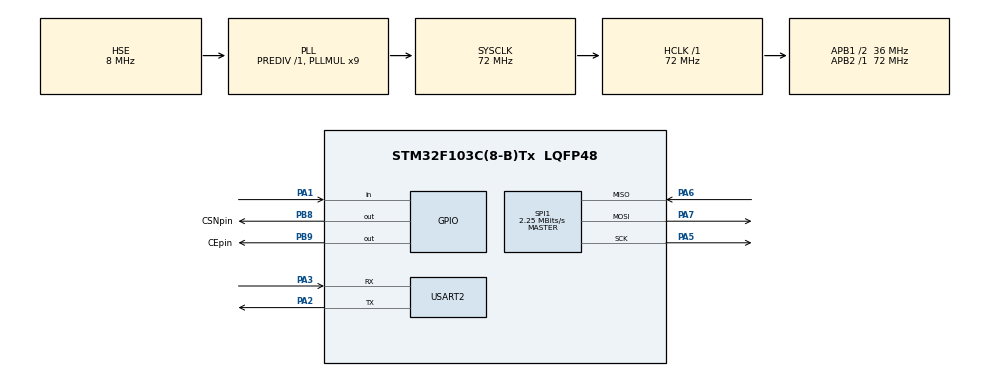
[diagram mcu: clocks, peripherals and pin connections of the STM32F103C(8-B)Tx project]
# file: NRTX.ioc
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Mcu.Family=STM32F1
Mcu.Name=STM32F103C(8-B)Tx
Mcu.Package=LQFP48
NVIC.PriorityGroup=NVIC_PRIORITYGROUP_4
PA1.Signal=GPIO_Input
PA13.Mode=Serial_Wire
PA13.Signal=SYS_JTMS-SWDIO
PA14.Mode=Serial_Wire
PA14.Signal=SYS_JTCK-SWCLK
PA2.Mode=Asynchronous
PA2.Signal=USART2_TX
PA3.Mode=Asynchronous
PA3.Signal=USART2_RX
PA5.Mode=Full_Duplex_Master
PA5.Signal=SPI1_SCK
PA6.Mode=Full_Duplex_Master
PA6.Signal=SPI1_MISO
PA7.Mode=Full_Duplex_Master
PA7.Signal=SPI1_MOSI
PB8.GPIO_Label=CSNpin
PB8.Signal=GPIO_Output
PB9.GPIO_Label=CEpin
PB9.Signal=GPIO_Output
PD0-OSC_IN.Mode=HSE-External-Oscillator
PD0-OSC_IN.Signal=RCC_OSC_IN
PD1-OSC_OUT.Mode=HSE-External-Oscillator
PD1-OSC_OUT.Signal=RCC_OSC_OUT
ProjectManager.HeapSize=0x200
ProjectManager.StackSize=0x400
ProjectManager.TargetToolchain=MDK-ARM V5.32
RCC.AHBFreq_Value=72000000
RCC.APB1CLKDivider=RCC_HCLK_DIV2
RCC.APB1Freq_Value=36000000
RCC.APB1TimFreq_Value=72000000
RCC.APB2Freq_Value=72000000
RCC.APB2TimFreq_Value=72000000
RCC.HCLKFreq_Value=72000000
RCC.PLLMUL=RCC_PLL_MUL9
RCC.PLLSourceVirtual=RCC_PLLSOURCE_HSE
RCC.SYSCLKFreq_VALUE=72000000
RCC.SYSCLKSource=RCC_SYSCLKSOURCE_PLLCLK
RCC.USBFreq_Value=72000000
SPI1.BaudRatePrescaler=SPI_BAUDRATEPRESCALER_32
SPI1.CalculateBaudRate=2.25 MBits/s
SPI1.Direction=SPI_DIRECTION_2LINES
SPI1.Mode=SPI_MODE_MASTER
SPI1.VirtualType=VM_MASTER
USART2.VirtualMode=VM_ASYNC
board=custom

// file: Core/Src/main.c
/* USER CODE BEGIN Header */
/**
  ******************************************************************************
  * @file           : main.c
  * @brief          : Main program body
  ******************************************************************************
  * @attention
  *
  * <h2><center>&copy; Copyright (c) 2021 STMicroelectronics.
  * All rights reserved.</center></h2>
  *
  * This software component is licensed by ST under BSD 3-Clause license,
  * the "License"; You may not use this file except in compliance with the
  * License. You may obtain a copy of the License at:
  *                        opensource.org/licenses/BSD-3-Clause
  *
  ******************************************************************************
  */
/* USER CODE END Header */
#include "main.h"

/* USER CODE BEGIN Includes */
#include "MY_NRF24.h"
#include "stdio.h"

/* USER CODE END Includes */

SPI_HandleTypeDef hspi1;

UART_HandleTypeDef huart2;

void SystemClock_Config(void);
static void MX_GPIO_Init(void);
static void MX_SPI1_Init(void);
static void MX_USART2_UART_Init(void);

/* USER CODE BEGIN 0 */
uint64_t TxpipeAddrs = 0x11223344AA;
char myTxData[32]; //= "Ehsan";
char AckPayload[32];
/* USER CODE END 0 */

int main(void)
{

  /* MCU Configuration--------------------------------------------------------*/

  /* Reset of all peripherals, Initializes the Flash interface and the Systick. */
  HAL_Init();

  /* Configure the system clock */
  SystemClock_Config();

  /* Initialize all configured peripherals */
  MX_GPIO_Init();
  MX_SPI1_Init();
  MX_USART2_UART_Init();
  /* USER CODE BEGIN 2 */
	NRF24_begin(GPIOB, CSNpin_Pin, GPIO_PIN_9, hspi1);
	//NRF24_begin(GPIOB, CSNpin_Pin, CEpin_Pin, hspi1);
	nrf24_DebugUART_Init(huart2);

	printRadioSettings();//for showing default setting of NRF

	//**** TRANSMIT - ACK ****//

	NRF24_stopListening();
	NRF24_openWritingPipe(TxpipeAddrs);

	NRF24_setAutoAck(true);
	NRF24_setChannel(52);
	NRF24_setPayloadSize(32);

	NRF24_enableDynamicPayloads();
	NRF24_enableAckPayload();

  /* USER CODE END 2 */

  /* Infinite loop */
  /* USER CODE BEGIN WHILE */
  while (1)
  {

		myTxData[0] = HAL_GPIO_ReadPin(GPIOA,GPIO_PIN_1);
		NRF24_write(myTxData, 32);

//		if(NRF24_write(myTxData, 32)){
//
//		HAL_UART_Transmit(&huart2, (uint8_t *)"Transmitted Successfully\r\n", strlen("Transmitted Successfully\r\n"), 10);
//		}
//		HAL_Delay(1000);
//

		/*
		if(NRF24_write(myTxData, 32))
		{
			NRF24_read(AckPayload, 32);
			HAL_UART_Transmit(&huart2, (uint8_t *)"Transmitted Successfully\r\n", strlen("Transmitted Successfully\r\n"), 10);

			char myDataack[80];
			sprintf(myDataack, "AckPayload:  %s \r\n", AckPayload);
			HAL_UART_Transmit(&huart2, (uint8_t *)myDataack, strlen(myDataack), 10);
		}

		HAL_Delay(1000);
		*/

    /* USER CODE END WHILE */

  }
}

void SystemClock_Config(void)
{
  RCC_OscInitTypeDef RCC_OscInitStruct = {0};
  RCC_ClkInitTypeDef RCC_ClkInitStruct = {0};

  /** Initializes the RCC Oscillators according to the specified parameters
  * in the RCC_OscInitTypeDef structure.
  */
  RCC_OscInitStruct.OscillatorType = RCC_OSCILLATORTYPE_HSE;
  RCC_OscInitStruct.HSEState = RCC_HSE_ON;
  RCC_OscInitStruct.HSEPredivValue = RCC_HSE_PREDIV_DIV1;
  RCC_OscInitStruct.HSIState = RCC_HSI_ON;
  RCC_OscInitStruct.PLL.PLLState = RCC_PLL_ON;
  RCC_OscInitStruct.PLL.PLLSource = RCC_PLLSOURCE_HSE;
  RCC_OscInitStruct.PLL.PLLMUL = RCC_PLL_MUL9;
  if (HAL_RCC_OscConfig(&RCC_OscInitStruct) != HAL_OK)
  {
    Error_Handler();
  }
  /** Initializes the CPU, AHB and APB buses clocks
  */
  RCC_ClkInitStruct.ClockType = RCC_CLOCKTYPE_HCLK|RCC_CLOCKTYPE_SYSCLK
                              |RCC_CLOCKTYPE_PCLK1|RCC_CLOCKTYPE_PCLK2;
  RCC_ClkInitStruct.SYSCLKSource = RCC_SYSCLKSOURCE_PLLCLK;
  RCC_ClkInitStruct.AHBCLKDivider = RCC_SYSCLK_DIV1;
  RCC_ClkInitStruct.APB1CLKDivider = RCC_HCLK_DIV2;
  RCC_ClkInitStruct.APB2CLKDivider = RCC_HCLK_DIV1;

  if (HAL_RCC_ClockConfig(&RCC_ClkInitStruct, FLASH_LATENCY_2) != HAL_OK)
  {
    Error_Handler();
  }
}

static void MX_SPI1_Init(void)
{

  /* SPI1 parameter configuration*/
  hspi1.Instance = SPI1;
  hspi1.Init.Mode = SPI_MODE_MASTER;
  hspi1.Init.Direction = SPI_DIRECTION_2LINES;
  hspi1.Init.DataSize = SPI_DATASIZE_8BIT;
  hspi1.Init.CLKPolarity = SPI_POLARITY_LOW;
  hspi1.Init.CLKPhase = SPI_PHASE_1EDGE;
  hspi1.Init.NSS = SPI_NSS_SOFT;
  hspi1.Init.BaudRatePrescaler = SPI_BAUDRATEPRESCALER_32;
  hspi1.Init.FirstBit = SPI_FIRSTBIT_MSB;
  hspi1.Init.TIMode = SPI_TIMODE_DISABLE;
  hspi1.Init.CRCCalculation = SPI_CRCCALCULATION_DISABLE;
  hspi1.Init.CRCPolynomial = 10;
  if (HAL_SPI_Init(&hspi1) != HAL_OK)
  {
    Error_Handler();
  }

}

static void MX_USART2_UART_Init(void)
{

  huart2.Instance = USART2;
  huart2.Init.BaudRate = 115200;
  huart2.Init.WordLength = UART_WORDLENGTH_8B;
  huart2.Init.StopBits = UART_STOPBITS_1;
  huart2.Init.Parity = UART_PARITY_NONE;
  huart2.Init.Mode = UART_MODE_TX_RX;
  huart2.Init.HwFlowCtl = UART_HWCONTROL_NONE;
  huart2.Init.OverSampling = UART_OVERSAMPLING_16;
  if (HAL_UART_Init(&huart2) != HAL_OK)
  {
    Error_Handler();
  }

}

static void MX_GPIO_Init(void)
{
  GPIO_InitTypeDef GPIO_InitStruct = {0};

  /* GPIO Ports Clock Enable */
  __HAL_RCC_GPIOD_CLK_ENABLE();
  __HAL_RCC_GPIOA_CLK_ENABLE();
  __HAL_RCC_GPIOB_CLK_ENABLE();

  /*Configure GPIO pin Output Level */
  HAL_GPIO_WritePin(GPIOB, CSNpin_Pin|CEpin_Pin, GPIO_PIN_RESET);

  /*Configure GPIO pin : PA1 */
  GPIO_InitStruct.Pin = GPIO_PIN_1;
  GPIO_InitStruct.Mode = GPIO_MODE_INPUT;
  GPIO_InitStruct.Pull = GPIO_NOPULL;
  HAL_GPIO_Init(GPIOA, &GPIO_InitStruct);

  /*Configure GPIO pins : CSNpin_Pin CEpin_Pin */
  GPIO_InitStruct.Pin = CSNpin_Pin|CEpin_Pin;
  GPIO_InitStruct.Mode = GPIO_MODE_OUTPUT_PP;
  GPIO_InitStruct.Pull = GPIO_NOPULL;
  GPIO_InitStruct.Speed = GPIO_SPEED_FREQ_LOW;
  HAL_GPIO_Init(GPIOB, &GPIO_InitStruct);

}

void Error_Handler(void)
{
}

/************************ (C) COPYRIGHT STMicroelectronics *****END OF FILE****/
